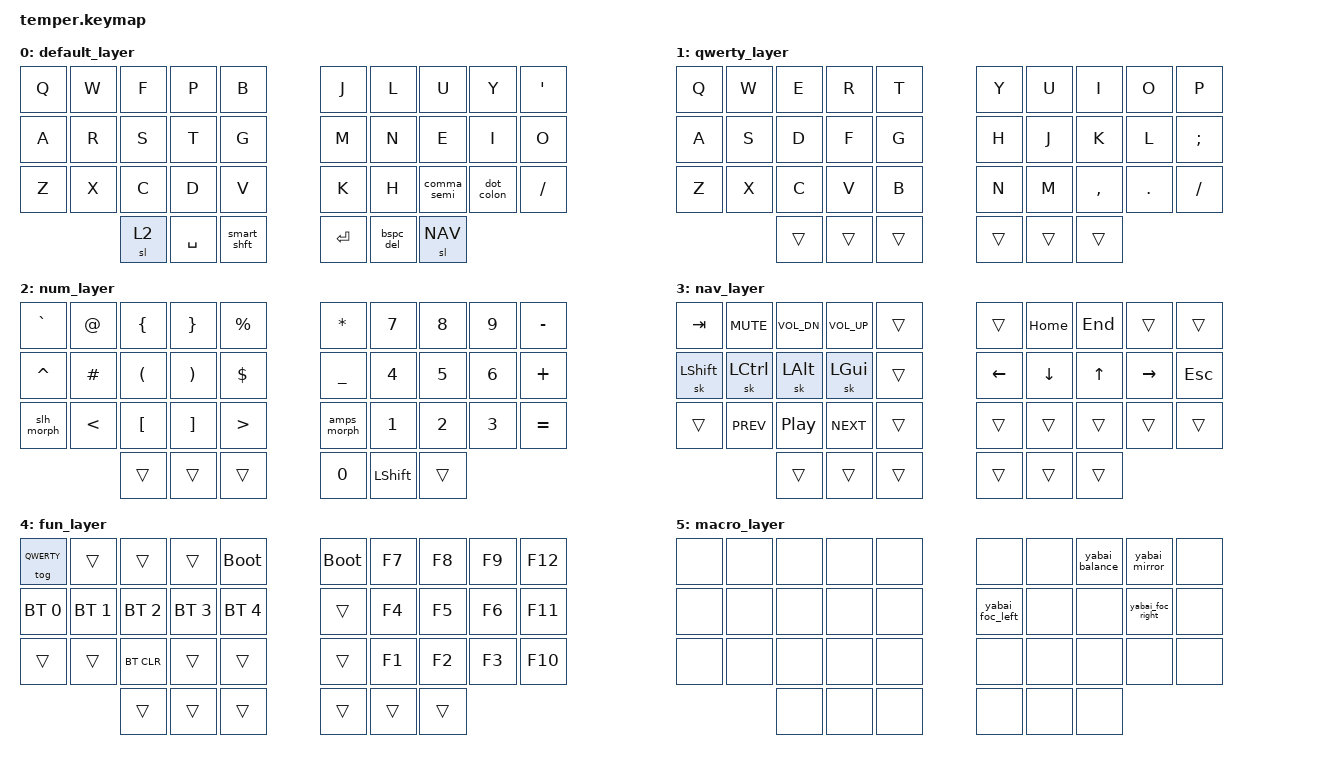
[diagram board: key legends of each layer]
/*
 * Copyright (c) 2020 The ZMK Contributors
 *
 * SPDX-License-Identifier: MIT
 */

#include <behaviors.dtsi>
#include <dt-bindings/zmk/bt.h>
#include <dt-bindings/zmk/keys.h>

#define DEFAULT 0
#define QWERTY 1
#define NUM 2
#define NAV 3
#define FUN 4

/ {
    conditional_layers {
        compatible = "zmk,conditional-layers";

        tri_layer {
            if-layers = <NUM NAV>;
            then-layer = <FUN>;
        };
    };

    behaviors {
        bspc_del: backspace_delete {
            compatible = "zmk,behavior-mod-morph";
            label = "BACKSPACE_DELETE";
            #binding-cells = <0>;
            bindings = <&kp BACKSPACE>, <&kp DELETE>;

            mods = <(MOD_LSFT|MOD_RSFT)>;
            keep-mods = <(MOD_RSFT)>;
        };
        smart_shft: smart_shift {
            compatible = "zmk,behavior-mod-morph";
            label = "SMART_SHIFT";
            #binding-cells = <0>;
            bindings = <&sk LSHFT>, <&caps_word>;

            mods = <(MOD_LSFT)>;
        };
        comma_semi: comma_semi {
            compatible = "zmk,behavior-mod-morph";
            label = "COMMA_SEMI";
            #binding-cells = <0>;
            bindings = <&kp COMMA>, <&kp SEMI>;

            mods = <(MOD_LSFT)>;
        };
        dot_colon: dot_colon {
            compatible = "zmk,behavior-mod-morph";
            label = "DOT_COLON";
            #binding-cells = <0>;
            bindings = <&kp DOT>, <&kp COLON>;

            mods = <(MOD_LSFT)>;
        };
        qmrk_excl: qmrk_excl {
            compatible = "zmk,behavior-mod-morph";
            label = "QUESTION_EXCLAMATION";
            #binding-cells = <0>;
            bindings = <&kp QMARK>, <&kp EXCL>;

            mods = <(MOD_LSFT)>;
        };
        slh_morph: slh_morph {
            compatible = "zmk,behavior-mod-morph";
            label = "SLASH_MORPH";
            #binding-cells = <0>;
            bindings = <&kp FSLH>, <&kp BSLH>;

            mods = <(MOD_LSFT)>;
        };
        amps_morph: amps_morph {
            compatible = "zmk,behavior-mod-morph";
            label = "AMPERSAND_MORPH";
            #binding-cells = <0>;
            bindings = <&kp AMPS>, <&kp PIPE>;

            mods = <(MOD_LSFT)>;
        };
    };

    combos {
        compatible = "zmk,combos";

        combotab {
            bindings = <&kp TAB>;
            key-positions = <1 2>;
            layers = <0>;
        };

        comboesc {
            bindings = <&kp ESC>;
            key-positions = <7 8>;
            layers = <0>;
        };

        combo_yabai_lyr {
            bindings = <&sl 5>;
            key-positions = <27 28>;
            layers = <0>;
        };

        combo_maximize_yabai {
            bindings = <&yabai_maximize>;
            key-positions = <27 28>;
            layers = <5>;
        };
    };

    macros {
        yabai_foc_left: yabai_foc_left {
            compatible = "zmk,behavior-macro";
            #binding-cells = <0>;
            bindings =
                <&macro_press>,
                <&kp LEFT_ALT>,
                <&macro_tap>,
                <&kp H>,
                <&macro_release>,
                <&kp LALT>;

            label = "YABAI_FOC_LEFT";
        };
        yabai_foc_right: yabai_foc_right {
            compatible = "zmk,behavior-macro";
            #binding-cells = <0>;
            bindings =
                <&macro_press>,
                <&kp LALT>,
                <&macro_tap>,
                <&kp L>,
                <&macro_release>,
                <&kp LEFT_ALT>;

            label = "YABAI_FOC_RIGHT";
        };
        yabai_maximize: yabai_maximize {
            compatible = "zmk,behavior-macro";
            #binding-cells = <0>;
            bindings =
                <&macro_press>,
                <&kp LSHFT &kp LALT>,
                <&macro_tap>,
                <&kp M>,
                <&macro_release>,
                <&kp LSHFT &kp LALT>;

            label = "YABAI_MAXIMIZE";
        };
        yabai_mirror: yabai_mirror {
            compatible = "zmk,behavior-macro";
            #binding-cells = <0>;
            bindings =
                <&macro_press>,
                <&kp LEFT_SHIFT &kp LEFT_ALT>,
                <&macro_tap>,
                <&kp Y>,
                <&macro_release>,
                <&kp LEFT_SHIFT &kp LEFT_ALT>;

            label = "YABAI_MIRROR";
        };
        yabai_balance: yabai_balance {
            compatible = "zmk,behavior-macro";
            #binding-cells = <0>;
            bindings =
                <&macro_press>,
                <&kp LSHFT &kp LEFT_ALT>,
                <&macro_tap>,
                <&kp E>,
                <&macro_release>,
                <&kp LSHFT &kp LEFT_ALT>;

            label = "YABAI_BALANCE";
        };
        tmux_window_1: tmux_window_1 {
            compatible = "zmk,behavior-macro";
            #binding-cells = <0>;
            bindings =
                <&macro_press>,
                <&kp LCTRL>,
                <&macro_tap>,
                <&kp A>,
                <&macro_release>,
                <&kp LCTRL>,
                <&macro_tap>,
                <&kp N1>;

            label = "TMUX_WINDOW_1";
        };
        tmux_window_2: tmux_window_2 {
            compatible = "zmk,behavior-macro";
            #binding-cells = <0>;
            bindings =
                <&macro_press>,
                <&kp LCTRL>,
                <&macro_tap>,
                <&kp A>,
                <&macro_release>,
                <&kp LCTRL>,
                <&macro_tap>,
                <&kp N2>;

            label = "TMUX_WINDOW_2";
        };
        tmux_window_3: tmux_window_3 {
            compatible = "zmk,behavior-macro";
            #binding-cells = <0>;
            bindings =
                <&macro_press>,
                <&kp LCTRL>,
                <&macro_tap>,
                <&kp A>,
                <&macro_release>,
                <&kp LCTRL>,
                <&macro_tap>,
                <&kp N3>;

            label = "TMUX_WINDOW_3";
        };
        tmux_window_4: tmux_window_4 {
            compatible = "zmk,behavior-macro";
            #binding-cells = <0>;
            bindings =
                <&macro_press>,
                <&kp LCTRL>,
                <&macro_tap>,
                <&kp A>,
                <&macro_release>,
                <&kp LCTRL>,
                <&macro_tap>,
                <&kp N4>;

            label = "TMUX_WINDOW_4";
        };
    };

    keymap {
        compatible = "zmk,keymap";

        default_layer {
            bindings = <
&kp Q  &kp W  &kp F  &kp P      &kp B        &kp J      &kp L      &kp U        &kp Y       &kp APOS
&kp A  &kp R  &kp S  &kp T      &kp G        &kp M      &kp N      &kp E        &kp I       &kp O
&kp Z  &kp X  &kp C  &kp D      &kp V        &kp K      &kp H      &comma_semi  &dot_colon  &kp SLASH
              &sl 2  &kp SPACE  &smart_shft  &kp ENTER  &bspc_del  &sl NAV
            >;
        };

        qwerty_layer {
            bindings = <
&kp Q  &kp W  &kp E   &kp R   &kp T   &kp Y   &kp U   &kp I      &kp O    &kp P
&kp A  &kp S  &kp D   &kp F   &kp G   &kp H   &kp J   &kp K      &kp L    &kp SEMI
&kp Z  &kp X  &kp C   &kp V   &kp B   &kp N   &kp M   &kp COMMA  &kp DOT  &kp FSLH
              &trans  &trans  &trans  &trans  &trans  &trans
            >;
        };

        num_layer {
            bindings = <
&kp GRAVE   &kp AT    &kp LBRC  &kp RBRC  &kp PRCNT  &kp STAR     &kp N7      &kp N8  &kp N9  &kp MINUS
&kp CARET   &kp HASH  &kp LPAR  &kp RPAR  &kp DLLR   &kp UNDER    &kp N4      &kp N5  &kp N6  &kp PLUS
&slh_morph  &kp LT    &kp LBKT  &kp RBKT  &kp GT     &amps_morph  &kp N1      &kp N2  &kp N3  &kp EQUAL
                      &trans    &trans    &trans     &kp N0       &kp LSHIFT  &trans
            >;
        };

        nav_layer {
            bindings = <
&kp TAB         &kp K_MUTE  &kp C_VOL_DN  &kp C_VOL_UP  &trans  &trans    &kp HOME  &kp END  &trans     &trans
&sk LEFT_SHIFT  &sk LCTRL   &sk LALT      &sk LGUI      &trans  &kp LEFT  &kp DOWN  &kp UP   &kp RIGHT  &kp ESC
&trans          &kp C_PREV  &kp C_PP      &kp C_NEXT    &trans  &trans    &trans    &trans   &trans     &trans
                            &trans        &trans        &trans  &trans    &trans    &trans
            >;
        };

        fun_layer {
            bindings = <
&tog QWERTY   &trans        &trans        &trans        &bootloader   &bootloader  &kp F7  &kp F8  &kp F9  &kp F12
&bt BT_SEL 0  &bt BT_SEL 1  &bt BT_SEL 2  &bt BT_SEL 3  &bt BT_SEL 4  &trans       &kp F4  &kp F5  &kp F6  &kp F11
&trans        &trans        &bt BT_CLR    &trans        &trans        &trans       &kp F1  &kp F2  &kp F3  &kp F10
                            &trans        &trans        &trans        &trans       &trans  &trans
            >;
        };

        macro_layer {
            bindings = <
&none  &none  &none  &none  &none  &none            &none  &yabai_balance  &yabai_mirror     &none
&none  &none  &none  &none  &none  &yabai_foc_left  &none  &none           &yabai_foc_right  &none
&none  &none  &none  &none  &none  &none            &none  &none           &none             &none
              &none  &none  &none  &none            &none  &none
            >;
        };
    };
};
